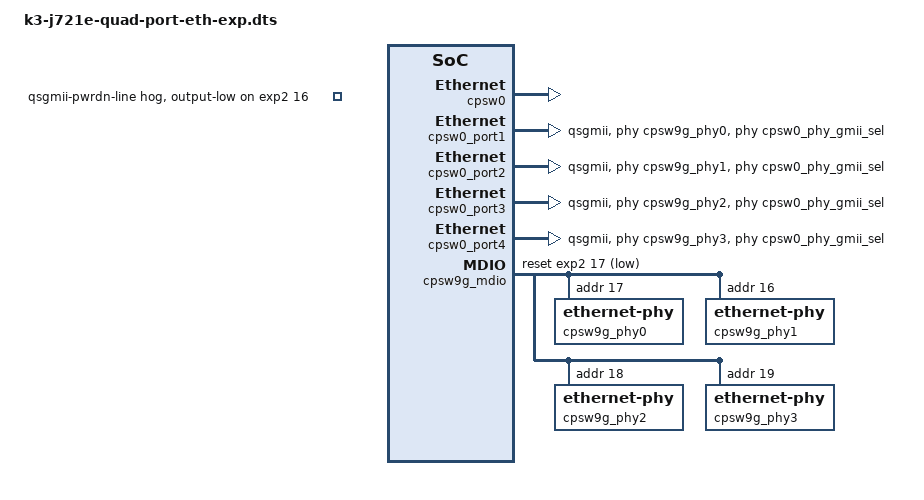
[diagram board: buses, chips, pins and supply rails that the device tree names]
// SPDX-License-Identifier: GPL-2.0
/**
 * DT Overlay for CPSW9G in QSGMII mode using J7 Quad Port ETH EXP Add-On Ethernet Card with
 * J721E board.
 *
 * Copyright (C) 2022 Texas Instruments Incorporated - https://www.ti.com/
 */

/dts-v1/;
/plugin/;

#include <dt-bindings/gpio/gpio.h>
#include <dt-bindings/pinctrl/k3.h>

/ {
	fragment@102 {
		target-path = "/";
		__overlay__ {
			aliases {
				ethernet1 = "/bus@100000/ethernet@c000000/ethernet-ports/port@1";
				ethernet2 = "/bus@100000/ethernet@c000000/ethernet-ports/port@2";
				ethernet3 = "/bus@100000/ethernet@c000000/ethernet-ports/port@3";
				ethernet4 = "/bus@100000/ethernet@c000000/ethernet-ports/port@4";
			};
		};
	};
};

&cpsw0 {
	status = "okay";
	pinctrl-names = "default";
	pinctrl-0 = <&mdio_pins_default>;
};

&cpsw0_port1 {
	phy-handle = <&cpsw9g_phy0>;
	phy-mode = "qsgmii";
	mac-address = [00 00 00 00 00 00];
	phys = <&cpsw0_phy_gmii_sel 1>;
};

&cpsw0_port2 {
	phy-handle = <&cpsw9g_phy1>;
	phy-mode = "qsgmii";
	mac-address = [00 00 00 00 00 00];
	phys = <&cpsw0_phy_gmii_sel 2>;
};

&cpsw0_port3 {
	phy-handle = <&cpsw9g_phy2>;
	phy-mode = "qsgmii";
	mac-address = [00 00 00 00 00 00];
	phys = <&cpsw0_phy_gmii_sel 3>;
};

&cpsw0_port4 {
	phy-handle = <&cpsw9g_phy3>;
	phy-mode = "qsgmii";
	mac-address = [00 00 00 00 00 00];
	phys = <&cpsw0_phy_gmii_sel 4>;
};

&cpsw0_port5 {
	status = "disabled";
};

&cpsw0_port6 {
	status = "disabled";
};

&cpsw0_port7 {
	status = "disabled";
};

&cpsw0_port8 {
	status = "disabled";
};

&cpsw9g_mdio {
	bus_freq = <1000000>;
	reset-gpios = <&exp2 17 GPIO_ACTIVE_LOW>;
	reset-post-delay-us = <120000>;
	#address-cells = <1>;
	#size-cells = <0>;

	cpsw9g_phy0: ethernet-phy@17 {
		reg = <17>;
	};
	cpsw9g_phy1: ethernet-phy@16 {
		reg = <16>;
	};
	cpsw9g_phy2: ethernet-phy@18 {
		reg = <18>;
	};
	cpsw9g_phy3: ethernet-phy@19 {
		reg = <19>;
	};
};

&cpsw9g_virt_mac {
	status = "disabled";
};

&exp2 {
	qsgmii-line-hog {
		gpio-hog;
		gpios = <16 GPIO_ACTIVE_HIGH>;
		output-low;
		line-name = "qsgmii-pwrdn-line";
	};
};

&main_pmx0 {
	mdio_pins_default: mdio_pins_default {
		pinctrl-single,pins = <
			J721E_IOPAD(0x1bc, PIN_OUTPUT, 0) /* (V24) MDIO0_MDC */
			J721E_IOPAD(0x1b8, PIN_INPUT, 0) /* (V26) MDIO0_MDIO */
		>;
	};
};

&main_r5fss0_core0 {
	firmware-name = "pdk-ipc/ipc_echo_test_mcu2_0_release_strip.xer5f";
};
